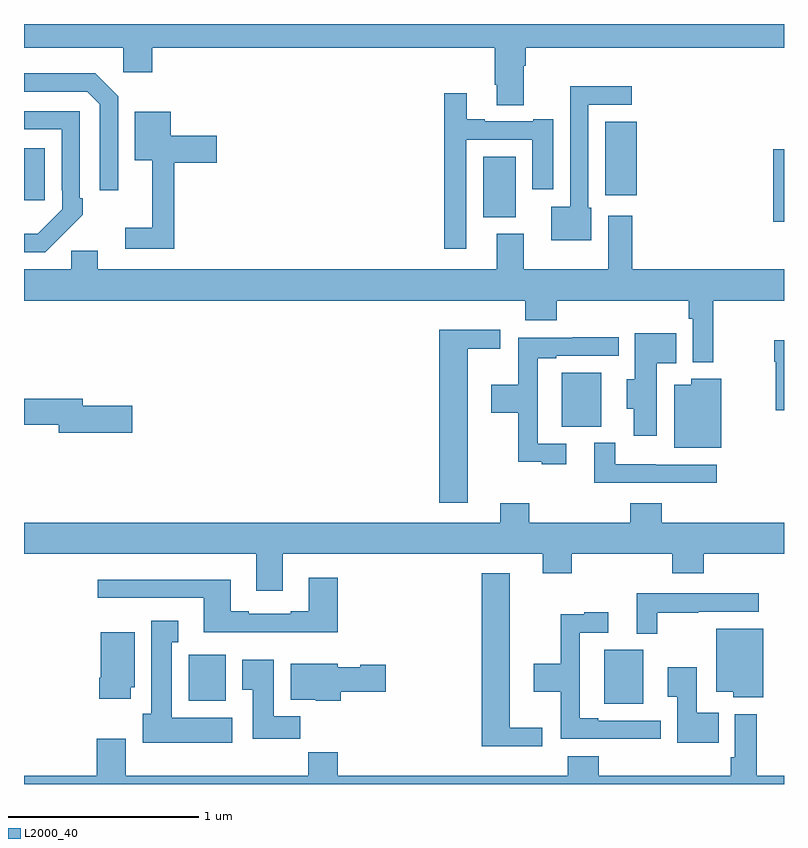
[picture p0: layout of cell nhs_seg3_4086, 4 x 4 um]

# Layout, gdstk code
import gdstk
lib = gdstk.Library(unit=1e-6, precision=1e-09)
def R(c, l, rs):  # rectangles x0, y0, x1, y1
    for r in rs: c.add(gdstk.rectangle(r[:2], r[2:], *l))
def P(c, l, *ps):  # polygons
    for p in ps: c.add(gdstk.Polygon(p, *l))
L2000_40 = (2000, 40)

nhs_seg3_4086 = lib.new_cell('nhs_seg3_4086')
R(nhs_seg3_4086, L2000_40, [(330.053,670.823,330.259,671.107), (327.866,670.838,328.063,671.08), (329.831,672.281,330.037,672.565), (330.944,673.359,331,673.74), (329.417,673.382,329.587,673.702), (327,673.473,327.109,673.747), (330.059,673.499,330.226,673.885)])
P(nhs_seg3_4086, L2000_40, [(329.629,674.18),(329.642,674.18),(329.642,674.276),(331,674.276),(331,674.4),(327,674.4),(327,674.276),(327.522,674.276),(327.522,674.145),(327.674,674.145),(327.674,674.276),(329.477,674.276),(329.477,674.08),(329.489,674.08),(329.489,673.972),(329.629,673.972)],
  [(327.495,674.019),(327.374,674.14),(327,674.14),(327,674.043),(327.333,674.043),(327.399,673.977),(327.399,673.524),(327.495,673.524)],
  [(329.986,673.434),(329.97,673.434),(329.97,673.974),(330.199,673.974),(330.199,674.072),(329.874,674.072),(329.874,673.438),(329.774,673.438),(329.774,673.262),(329.986,673.262)],
  [(329.328,673.791),(329.675,673.791),(329.675,673.53),(329.785,673.53),(329.785,673.9),(329.681,673.9),(329.681,673.887),(329.425,673.887),(329.425,673.9),(329.329,673.9),(329.329,674.035),(329.212,674.035),(329.212,673.218),(329.328,673.218)],
  [(327.203,673.291),(327.204,673.29),(327.309,673.395),(327.309,673.483),(327.294,673.483),(327.294,673.941),(327,673.941),(327,673.845),(327.198,673.845),(327.198,673.525),(327.201,673.525),(327.201,673.425),(327.073,673.297),(327,673.297),(327,673.2),(327.112,673.2)],
  [(327.791,673.67),(328.015,673.67),(328.015,673.812),(327.772,673.812),(327.772,673.939),(327.584,673.939),(327.584,673.682),(327.674,673.682),(327.674,673.327),(327.534,673.327),(327.534,673.218),(327.791,673.218)],
  [(330.628,672.944),(331,672.944),(331,673.108),(330.2,673.108),(330.2,673.39),(330.074,673.39),(330.074,673.108),(329.629,673.108),(329.629,673.297),(329.489,673.297),(329.489,673.108),(327.388,673.108),(327.388,673.206),(327.249,673.206),(327.249,673.108),(327,673.108),(327,672.944),(329.639,672.944),(329.639,672.842),(329.804,672.842),(329.804,672.944),(330.499,672.944),(330.499,672.848),(330.519,672.848),(330.519,672.621),(330.628,672.621)],
  [(329.335,672.692),(329.506,672.692),(329.506,672.79),(329.186,672.79),(329.186,671.88),(329.335,671.88)],
  [(330.331,672.614),(330.434,672.614),(330.434,672.772),(330.215,672.772),(330.215,672.531),(330.173,672.531),(330.173,672.376),(330.209,672.376),(330.209,672.234),(330.331,672.234)],
  [(329.854,672.192),(329.703,672.192),(329.703,672.642),(329.8,672.642),(329.8,672.654),(330.13,672.654),(330.13,672.752),(329.887,672.752),(329.887,672.75),(329.602,672.75),(329.602,672.502),(329.46,672.502),(329.46,672.355),(329.602,672.355),(329.602,672.095),(329.726,672.095),(329.726,672.084),(329.854,672.084)],
  [(331,672.736),(330.949,672.736),(330.949,672.623),(330.956,672.623),(330.956,672.368),(331,672.368)],
  [(330.67,672.532),(330.512,672.532),(330.512,672.502),(330.422,672.502),(330.422,672.17),(330.67,672.17)],
  [(327.571,672.392),(327.31,672.392),(327.31,672.428),(327,672.428),(327,672.292),(327.182,672.292),(327.182,672.25),(327.571,672.25)],
  [(330.646,672.081),(330.326,672.081),(330.326,672.082),(330.112,672.082),(330.112,672.196),(330.002,672.196),(330.002,671.985),(330.646,671.985)],
  [(328.363,671.612),(329.729,671.612),(329.729,671.51),(329.882,671.51),(329.882,671.612),(330.413,671.612),(330.413,671.51),(330.578,671.51),(330.578,671.612),(331,671.612),(331,671.776),(330.356,671.776),(330.356,671.878),(330.191,671.878),(330.191,671.776),(329.66,671.776),(329.66,671.878),(329.507,671.878),(329.507,671.776),(327,671.776),(327,671.612),(328.223,671.612),(328.223,671.418),(328.363,671.418)],
  [(329.728,670.697),(329.557,670.697),(329.557,671.509),(329.408,671.509),(329.408,670.598),(329.728,670.598)],
  [(328.652,671.485),(328.499,671.485),(328.499,671.308),(328.403,671.308),(328.403,671.295),(328.183,671.295),(328.183,671.308),(328.087,671.308),(328.087,671.476),(327.387,671.476),(327.387,671.379),(327.947,671.379),(327.947,671.198),(328.652,671.198)],
  [(330.334,671.302),(330.548,671.302),(330.548,671.307),(330.868,671.307),(330.868,671.403),(330.224,671.403),(330.224,671.192),(330.334,671.192)],
  [(330.352,670.734),(330.022,670.734),(330.022,670.747),(329.925,670.747),(329.925,671.196),(330.076,671.196),(330.076,671.305),(329.948,671.305),(329.948,671.294),(329.824,671.294),(329.824,671.034),(329.682,671.034),(329.682,670.886),(329.824,670.886),(329.824,670.638),(330.109,670.638),(330.109,670.637),(330.352,670.637)],
  [(328.096,670.75),(327.778,670.75),(327.778,671.147),(327.811,671.147),(327.811,671.26),(327.671,671.26),(327.671,670.77),(327.626,670.77),(327.626,670.616),(328.096,670.616)],
  [(330.892,671.218),(330.644,671.218),(330.644,670.886),(330.734,670.886),(330.734,670.856),(330.892,670.856)],
  [(327.562,670.908),(327.583,670.908),(327.583,671.2),(327.404,671.2),(327.404,670.96),(327.397,670.96),(327.397,670.848),(327.562,670.848)],
  [(328.454,670.756),(328.315,670.756),(328.315,671.053),(328.148,671.053),(328.148,670.897),(328.205,670.897),(328.205,670.638),(328.454,670.638)],
  [(328.667,670.885),(328.903,670.885),(328.903,671.027),(328.77,671.027),(328.77,671.014),(328.65,671.014),(328.65,671.032),(328.403,671.032),(328.403,670.844),(328.536,670.844),(328.536,670.838),(328.667,670.838)],
  [(330.656,670.774),(330.541,670.774),(330.541,671.014),(330.387,671.014),(330.387,670.858),(330.437,670.858),(330.437,670.616),(330.656,670.616)],
  [(331,670.444),(330.857,670.444),(330.857,670.768),(330.741,670.768),(330.741,670.54),(330.721,670.54),(330.721,670.444),(330.026,670.444),(330.026,670.546),(329.861,670.546),(329.861,670.444),(328.652,670.444),(328.652,670.568),(328.495,670.568),(328.495,670.444),(327.535,670.444),(327.535,670.639),(327.383,670.639),(327.383,670.444),(327,670.444),(327,670.4),(331,670.4)])

lib.write_gds('nhs_seg3_4086.gds')
